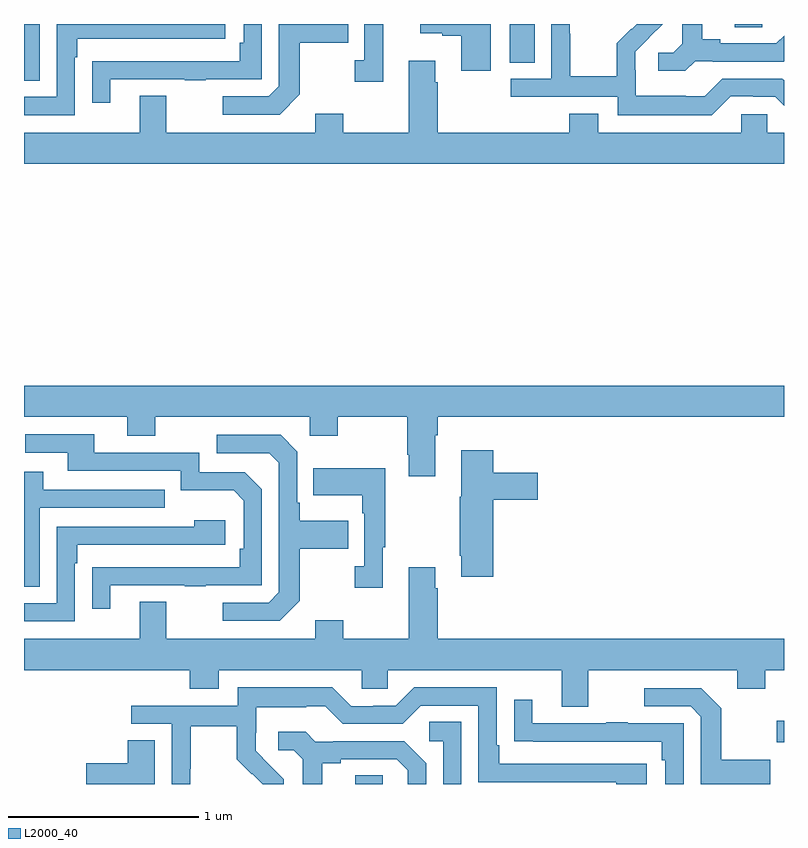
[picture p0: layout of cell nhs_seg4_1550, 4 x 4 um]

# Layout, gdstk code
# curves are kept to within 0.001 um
import gdstk
lib = gdstk.Library(unit=1e-6, precision=1e-09)
def R(c, l, rs):  # rectangles x0, y0, x1, y1
    for r in rs: c.add(gdstk.rectangle(r[:2], r[2:], *l))
def P(c, l, *ps):  # polygons
    for p in ps: c.add(gdstk.Polygon(p, *l))
L2000_40 = (2000, 40)

nhs_seg4_1550 = lib.new_cell('nhs_seg4_1550')
R(nhs_seg4_1550, L2000_40, [(192.743,782.9,192.888,782.945), (194.961,783.119,195,783.232), (191,786.601,191.082,786.9), (193.556,786.697,193.687,786.9), (194.741,786.883,194.886,786.9)])
P(nhs_seg4_1550, L2000_40, [(194.721,786.519),(194.837,786.519),(194.837,786.516),(194.955,786.516),(195,786.471),(195,786.603),(194.991,786.612),(194.676,786.612),(194.583,786.519),(194.483,786.519),(194.483,786.523),(194.22,786.523),(194.22,786.657),(194.218,786.657),(194.218,786.754),(194.362,786.9),(194.226,786.9),(194.199,786.873),(194.196,786.876),(194.119,786.799),(194.119,786.625),(193.875,786.625),(193.875,786.848),(193.872,786.848),(193.872,786.9),(193.776,786.9),(193.776,786.612),(193.563,786.612),(193.563,786.516),(194.124,786.516),(194.124,786.419),(194.621,786.419)],
  [(193.456,786.9),(193.086,786.9),(193.086,786.851),(193.202,786.851),(193.202,786.839),(193.301,786.839),(193.301,786.654),(193.456,786.654)],
  [(194.532,786.705),(194.626,786.705),(194.626,786.702),(194.998,786.702),(195,786.704),(195,786.838),(194.96,786.798),(194.665,786.798),(194.665,786.821),(194.569,786.821),(194.569,786.9),(194.465,786.9),(194.465,786.797),(194.418,786.75),(194.337,786.75),(194.337,786.653),(194.48,786.653)],
  [(192.451,786.529),(192.451,786.802),(192.707,786.802),(192.707,786.9),(192.342,786.9),(192.342,786.573),(192.288,786.519),(192.045,786.519),(192.045,786.423),(192.345,786.423)],
  [(191.455,786.609),(191.845,786.609),(191.845,786.604),(191.957,786.604),(191.957,786.609),(192.252,786.609),(192.252,786.9),(192.156,786.9),(192.156,786.802),(192.136,786.802),(192.136,786.705),(191.461,786.705),(191.461,786.704),(191.359,786.704),(191.359,786.486),(191.455,786.486)],
  [(192.89,786.9),(192.792,786.9),(192.792,786.71),(192.741,786.71),(192.741,786.597),(192.89,786.597)],
  [(191.268,786.725),(191.281,786.725),(191.281,786.822),(192.058,786.822),(192.058,786.9),(191.172,786.9),(191.172,786.516),(191,786.516),(191,786.42),(191.268,786.42)],
  [(195,786.328),(194.913,786.328),(194.913,786.426),(194.775,786.426),(194.775,786.328),(194.023,786.328),(194.023,786.427),(193.871,786.427),(193.871,786.328),(193.178,786.328),(193.178,786.593),(193.165,786.593),(193.165,786.706),(193.025,786.706),(193.025,786.328),(192.681,786.328),(192.681,786.427),(192.533,786.427),(192.533,786.328),(191.749,786.328),(191.749,786.523),(191.609,786.523),(191.609,786.328),(191,786.328),(191,786.164),(195,786.164)],
  [(193.165,784.736),(193.178,784.736),(193.178,784.832),(195,784.832),(195,784.996),(191,784.996),(191,784.832),(191.543,784.832),(191.543,784.733),(191.691,784.733),(191.691,784.832),(192.504,784.832),(192.504,784.733),(192.651,784.733),(192.651,784.832),(193.018,784.832),(193.018,784.633),(193.025,784.633),(193.025,784.521),(193.165,784.521)],
  [(191.455,783.945),(191.845,783.945),(191.845,783.94),(191.957,783.94),(191.957,783.945),(192.252,783.945),(192.252,784.452),(192.162,784.542),(191.922,784.542),(191.922,784.644),(191.371,784.644),(191.371,784.74),(191.007,784.74),(191.007,784.644),(191.231,784.644),(191.231,784.548),(191.826,784.548),(191.826,784.445),(192.103,784.445),(192.156,784.392),(192.156,784.138),(192.136,784.138),(192.136,784.041),(191.359,784.04),(191.359,783.822),(191.455,783.822)],
  [(192.451,783.865),(192.451,784.138),(192.707,784.138),(192.707,784.285),(192.451,784.285),(192.451,784.381),(192.438,784.381),(192.438,784.65),(192.351,784.737),(192.015,784.737),(192.015,784.641),(192.291,784.641),(192.342,784.59),(192.342,783.909),(192.288,783.855),(192.045,783.855),(192.045,783.759),(192.345,783.759)],
  [(193.469,784.397),(193.705,784.397),(193.705,784.539),(193.469,784.539),(193.469,784.657),(193.301,784.657),(193.301,784.413),(193.294,784.413),(193.294,784.102),(193.301,784.102),(193.301,783.99),(193.469,783.99)],
  [(192.889,784.145),(192.901,784.145),(192.901,784.561),(192.523,784.561),(192.523,784.421),(192.78,784.421),(192.78,784.325),(192.792,784.325),(192.792,784.046),(192.741,784.046),(192.741,783.933),(192.889,783.933)],
  [(191.082,784.353),(191.741,784.353),(191.741,784.449),(191.101,784.449),(191.101,784.543),(191,784.543),(191,783.937),(191.082,783.937)],
  [(191.268,784.061),(191.281,784.061),(191.281,784.158),(192.058,784.158),(192.058,784.288),(191.897,784.288),(191.897,784.254),(191.172,784.254),(191.172,783.852),(191,783.852),(191,783.756),(191.268,783.756)],
  [(193.969,783.5),(194.753,783.5),(194.753,783.401),(194.901,783.401),(194.901,783.5),(195,783.5),(195,783.664),(193.178,783.664),(193.178,783.929),(193.165,783.929),(193.165,784.042),(193.025,784.042),(193.025,783.664),(192.681,783.664),(192.681,783.763),(192.533,783.763),(192.533,783.664),(191.749,783.664),(191.749,783.859),(191.609,783.859),(191.609,783.664),(191,783.664),(191,783.5),(191.873,783.5),(191.873,783.401),(192.025,783.401),(192.025,783.5),(192.777,783.5),(192.777,783.402),(192.915,783.402),(192.915,783.5),(193.829,783.5),(193.829,783.306),(193.969,783.306)],
  [(191.874,782.98),(191.877,782.98),(191.877,783.204),(192.121,783.204),(192.121,783.029),(192.198,782.952),(192.201,782.955),(192.257,782.9),(192.366,782.9),(192.366,782.926),(192.22,783.074),(192.22,783.171),(192.222,783.171),(192.222,783.305),(192.485,783.305),(192.485,783.309),(192.585,783.309),(192.678,783.216),(192.993,783.216),(193.089,783.312),(193.392,783.312),(193.392,782.91),(194.117,782.91),(194.117,782.9),(194.278,782.9),(194.278,783.006),(193.501,783.006),(193.501,783.103),(193.488,783.103),(193.488,783.408),(193.053,783.408),(192.957,783.312),(192.839,783.312),(192.839,783.309),(192.723,783.309),(192.623,783.409),(192.126,783.409),(192.126,783.312),(191.565,783.312),(191.565,783.216),(191.778,783.216),(191.778,782.9),(191.874,782.9)],
  [(194.927,783.027),(194.671,783.027),(194.671,783.299),(194.565,783.405),(194.265,783.405),(194.265,783.309),(194.508,783.309),(194.562,783.255),(194.562,782.9),(194.927,782.9)],
  [(194.472,783.219),(194.177,783.219),(194.177,783.224),(194.065,783.224),(194.065,783.219),(193.675,783.219),(193.675,783.343),(193.579,783.343),(193.579,783.124),(193.681,783.124),(193.681,783.123),(194.356,783.123),(194.356,783.026),(194.376,783.026),(194.376,782.9),(194.472,782.9)],
  [(193.302,783.227),(193.134,783.227),(193.134,783.126),(193.206,783.126),(193.206,782.9),(193.302,782.9)],
  [(192.571,783.008),(192.667,783.008),(192.667,783.03),(192.962,783.03),(193.019,782.973),(193.019,782.9),(193.116,782.9),(193.116,783.01),(193,783.126),(192.628,783.126),(192.628,783.123),(192.534,783.123),(192.482,783.175),(192.339,783.175),(192.339,783.078),(192.42,783.078),(192.467,783.031),(192.467,782.9),(192.571,782.9)],
  [(191.689,783.131),(191.546,783.131),(191.546,783.008),(191.328,783.008),(191.328,782.9),(191.689,782.9)])

lib.write_gds('nhs_seg4_1550.gds')
